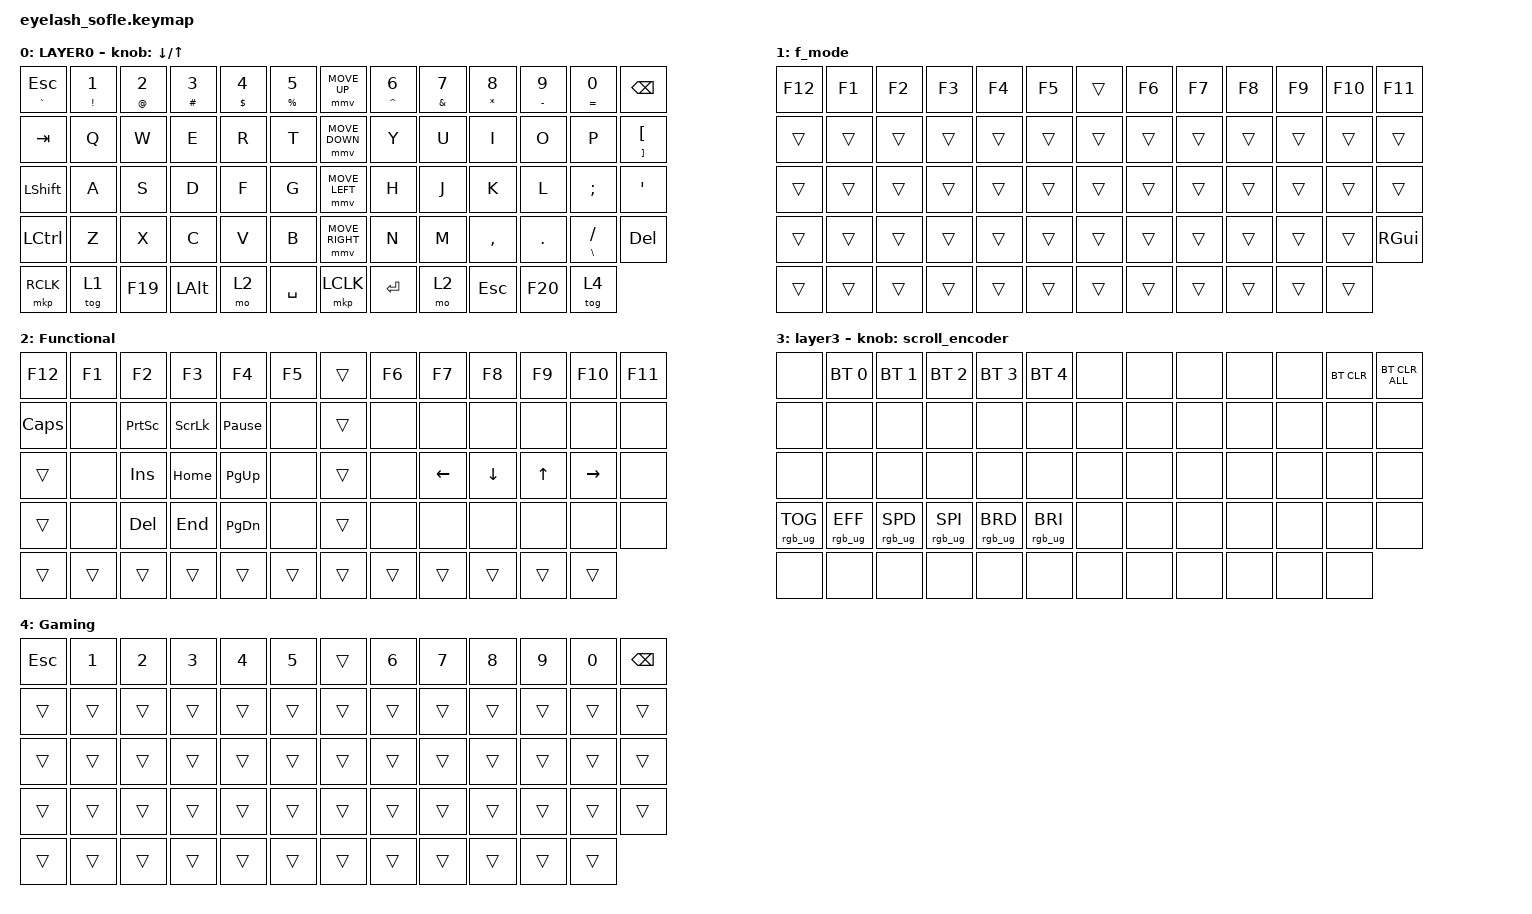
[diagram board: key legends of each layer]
#define ZMK_POINTING_DEFAULT_MOVE_VAL 1200  // 600
#define ZMK_POINTING_DEFAULT_SCRL_VAL 25   // 10

#include <input/processors.dtsi>
#include <zephyr/dt-bindings/input/input-event-codes.h>
#include <behaviors.dtsi>
#include <dt-bindings/zmk/bt.h>
#include <dt-bindings/zmk/keys.h>
#include <dt-bindings/zmk/pointing.h>
#include <dt-bindings/zmk/rgb.h>

&mmv_input_listener { input-processors = <&zip_xy_scaler 2 1>; };

&msc_input_listener { input-processors = <&zip_scroll_scaler 2 1>; };

&msc {
    acceleration-exponent = <1>;      // 0
    time-to-max-speed-ms = <100>;       // 300
    delay-ms = <0>;                   // 0
};

&mmv {
    time-to-max-speed-ms = <500>;
    acceleration-exponent = <1>;
    trigger-period-ms = <16>;
};

&soft_off { hold-time-ms = <2000>; };

/ {
    scroll_encoder: scroll_encoder {
        compatible = "zmk,behavior-sensor-rotate";
        #sensor-binding-cells = <0>;
        bindings = <&msc SCRL_DOWN>, <&msc SCRL_UP>;

        tap-ms = <100>;
    };

    behaviors {
    };

    hold_tap_kp: hold_tap_kp {
        compatible = "zmk,behavior-hold-tap";
        label = "HOLD_TAP_KP";
        bindings = <&kp>, <&kp>;

        #binding-cells = <2>;
        tapping-term-ms = <200>;
        flavor = "tap-preferred";
    };

    combos {
        compatible = "zmk,combos";

        middle_click {
            bindings = <&mkp MCLK>;
            key-positions = <52 58>;
            timeout-ms = <150>;
        };

        to_danger_layer {
            bindings = <&to_danger_layer_macro>;
            key-positions = <56 60>;
            timeout-ms = <150>;
        };
    };

    macros {
        to_danger_layer_macro: to_danger_layer {
            compatible = "zmk,behavior-macro";
            #binding-cells = <0>;
            bindings = <&tog 3 &rgb_ug RGB_TOG>;
            label = "TO_DANGER_LAYER";
        };
    };

    keymap {
        compatible = "zmk,keymap";

        Main {
            bindings = <
&hold_tap_kp GRAVE ESCAPE  &hold_tap_kp EXCL N1  &hold_tap_kp AT N2  &hold_tap_kp HASH N3  &hold_tap_kp DOLLAR N4  &hold_tap_kp PERCENT N5    &mmv MOVE_UP     &hold_tap_kp CARET N6  &hold_tap_kp AMPERSAND N7  &hold_tap_kp ASTRK N8  &hold_tap_kp MINUS N9  &hold_tap_kp EQUAL N0   &kp BACKSPACE
&kp TAB                    &kp Q                 &kp W               &kp E                 &kp R                   &kp T                      &mmv MOVE_DOWN   &kp Y                  &kp U                      &kp I                  &kp O                  &kp P                   &hold_tap_kp RBKT LBKT
&kp LEFT_SHIFT             &kp A                 &kp S               &kp D                 &kp F                   &kp G                      &mmv MOVE_LEFT   &kp H                  &kp J                      &kp K                  &kp L                  &kp SEMI                &kp APOS
&kp LCTRL                  &kp Z                 &kp X               &kp C                 &kp V                   &kp B                      &mmv MOVE_RIGHT  &kp N                  &kp M                      &kp COMMA              &kp DOT                &hold_tap_kp BSLH FSLH  &kp DELETE
&mkp RCLK                  &tog 1                &kp F19             &kp LEFT_ALT          &mo 2                   &kp SPACE                  &mkp LCLK        &kp ENTER              &mo 2                      &kp ESC                &kp F20                &tog 4
            >;

            sensor-bindings = <&inc_dec_kp DOWN_ARROW UP_ARROW>;
            display-name = "LAYER0";
        };

        f_mode {
            bindings = <
&kp F12  &kp F1  &kp F2  &kp F3  &kp F4  &kp F5    &trans  &kp F6  &kp F7  &kp F8  &kp F9  &kp F10  &kp F11
&trans   &trans  &trans  &trans  &trans  &trans    &trans  &trans  &trans  &trans  &trans  &trans   &trans
&trans   &trans  &trans  &trans  &trans  &trans    &trans  &trans  &trans  &trans  &trans  &trans   &trans
&trans   &trans  &trans  &trans  &trans  &trans    &trans  &trans  &trans  &trans  &trans  &trans   &kp RGUI
&trans   &trans  &trans  &trans  &trans  &trans    &trans  &trans  &trans  &trans  &trans  &trans
            >;
        };

        Functional {
            bindings = <
&kp F12       &kp F1  &kp F2           &kp F3          &kp F4           &kp F5    &trans  &kp F6  &kp F7    &kp F8    &kp F9        &kp F10    &kp F11
&kp CAPSLOCK  &none   &kp PRINTSCREEN  &kp SCROLLLOCK  &kp PAUSE_BREAK  &none     &trans  &none   &none     &none     &none         &none      &none
&trans        &none   &kp INS          &kp HOME        &kp PG_UP        &none     &trans  &none   &kp LEFT  &kp DOWN  &kp UP_ARROW  &kp RIGHT  &none
&trans        &none   &kp DELETE       &kp END         &kp PAGE_DOWN    &none     &trans  &none   &none     &none     &none         &none      &none
&trans        &trans  &trans           &trans          &trans           &trans    &trans  &trans  &trans    &trans    &trans        &trans
            >;
        };

        Danger {
            bindings = <
&none            &bt BT_SEL 0     &bt BT_SEL 1     &bt BT_SEL 2     &bt BT_SEL 3     &bt BT_SEL 4       &none  &none  &none  &none  &none  &bt BT_CLR  &bt BT_CLR_ALL
&none            &none            &none            &none            &none            &none              &none  &none  &none  &none  &none  &none       &none
&none            &none            &none            &none            &none            &none              &none  &none  &none  &none  &none  &none       &none
&rgb_ug RGB_TOG  &rgb_ug RGB_EFF  &rgb_ug RGB_SPD  &rgb_ug RGB_SPI  &rgb_ug RGB_BRD  &rgb_ug RGB_BRI    &none  &none  &none  &none  &none  &none       &none
&none            &none            &none            &none            &none            &none              &none  &none  &none  &none  &none  &none
            >;

            display-name = "layer3";
            sensor-bindings = <&scroll_encoder>;
        };

        Gaming {
            bindings = <
&kp ESC  &kp N1  &kp N2  &kp N3  &kp N4  &kp N5    &trans  &kp N6  &kp N7  &kp N8  &kp N9  &kp N0  &kp BSPC
&trans   &trans  &trans  &trans  &trans  &trans    &trans  &trans  &trans  &trans  &trans  &trans  &trans
&trans   &trans  &trans  &trans  &trans  &trans    &trans  &trans  &trans  &trans  &trans  &trans  &trans
&trans   &trans  &trans  &trans  &trans  &trans    &trans  &trans  &trans  &trans  &trans  &trans  &trans
&trans   &trans  &trans  &trans  &trans  &trans    &trans  &trans  &trans  &trans  &trans  &trans
            >;
        };
    };

    conditional_layers { compatible = "zmk,conditional-layers"; };
};
